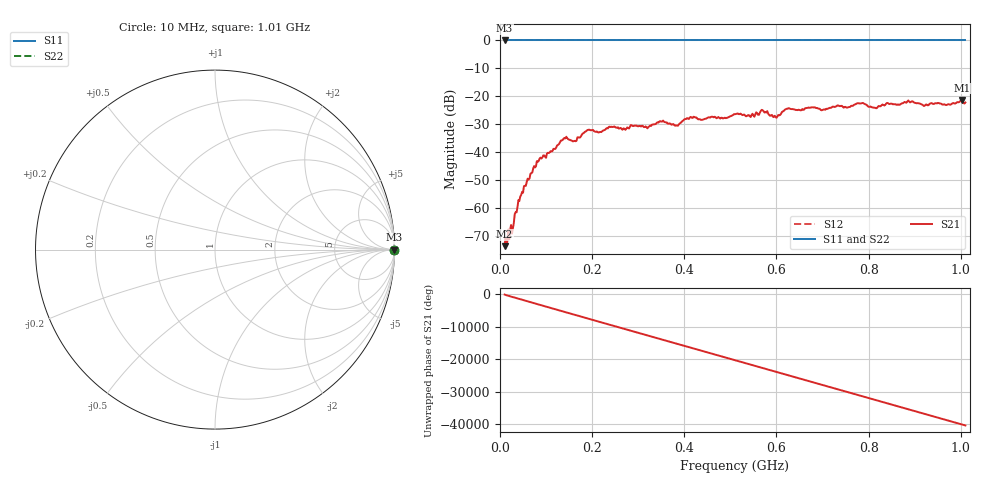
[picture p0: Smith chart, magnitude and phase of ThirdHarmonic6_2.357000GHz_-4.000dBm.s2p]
! 8/17/2025 3:35:30 AM
! C:\ANRITSUVNA\TEMP\TEMP.S2P
! CHANNEL.1
! TR.MEASUREMENT
! RAW.DATA
! RF.CORRECTION.OFF
! AVERAGING.OFF
! IF.BANDWIDTH: 5KHZ
! SWEEPTYPE:  FREQ.SWEEP(Linear)
! Reference Plane Port Info
! PORT:  PORT1  PORT2
! DISTANCE:  0  m  0  m
! TIME:  0  s  0  s
! PHASE.OFFSET:  0  deg.  0  deg.
! LOSS:  0  dB  0  dB
! REF.LOSS:  0  dB  0  dB
! REF.FREQ:  0  Hz  0  Hz
! Power Info
! POWER:  -20  dBm  -20  dBm
! EFF.POWER:  -20  dBm  -20  dBm
! SOURCE.ATTEN:  0  dB  0  dB
! TEST.ATTEN:  0  dB  0  dB
# GHZ S RI R 50.0
! FREQ.GHZ  S11RE  S11IM  S21RE  S21IM  S12RE  S12IM  S22RE  S22IM
!; PortSelection: Port_12
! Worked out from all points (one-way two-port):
!   501 points, 10 MHz to 1.01 GHz, reference 50 ohm
!   highest |S21| = -21.30 dB at 1.002 GHz (marker M1); lowest = -73.8 dB at 10 MHz (marker M2)
!   lowest |S11| = 0.0 dB at 10 MHz (marker M3)
!   |S11| at or under -10 dB: nowhere
!   |S22| runs from 0.0 to 0.0 dB; largest |S21 - S12| = 1.1
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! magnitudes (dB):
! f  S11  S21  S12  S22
! 10 MHz  0.0  -73.8  0.0  0.0
! 24 MHz  0.0  -66.1  0.0  0.0
! 44 MHz  0.0  -55.9  0.0  0.0
! 84 MHz  0.0  -43.2  0.0  0.0
! 140 MHz  0.0  -34.9  0.0  0.0
! 162 MHz  0.0  -36.0  0.0  0.0
! 178 MHz  0.0  -33.7  0.0  0.0
! 192 MHz  0.0  -32.0  0.0  0.0
! 318 MHz  0.0  -31.1  0.0  0.0
! 344 MHz  0.0  -29.4  0.0  0.0
! 382 MHz  0.0  -30.5  0.0  0.0
! 416 MHz  0.0  -27.7  0.0  0.0
! 510 MHz  0.0  -26.4  0.0  0.0
! 570 MHz  0.0  -25.0  0.0  0.0
! 598 MHz  0.0  -27.4  0.0  0.0
! 624 MHz  0.0  -24.5  0.0  0.0
! 678 MHz  0.0  -24.0  0.0  0.0
! 784 MHz  0.0  -22.5  0.0  0.0
! 814 MHz  0.0  -24.1  0.0  0.0
! 844 MHz  0.0  -22.8  0.0  0.0
! 1.002 GHz  0.0  -21.3  0.0  0.0
! 1.01 GHz  0.0  -22.2  0.0  0.0
